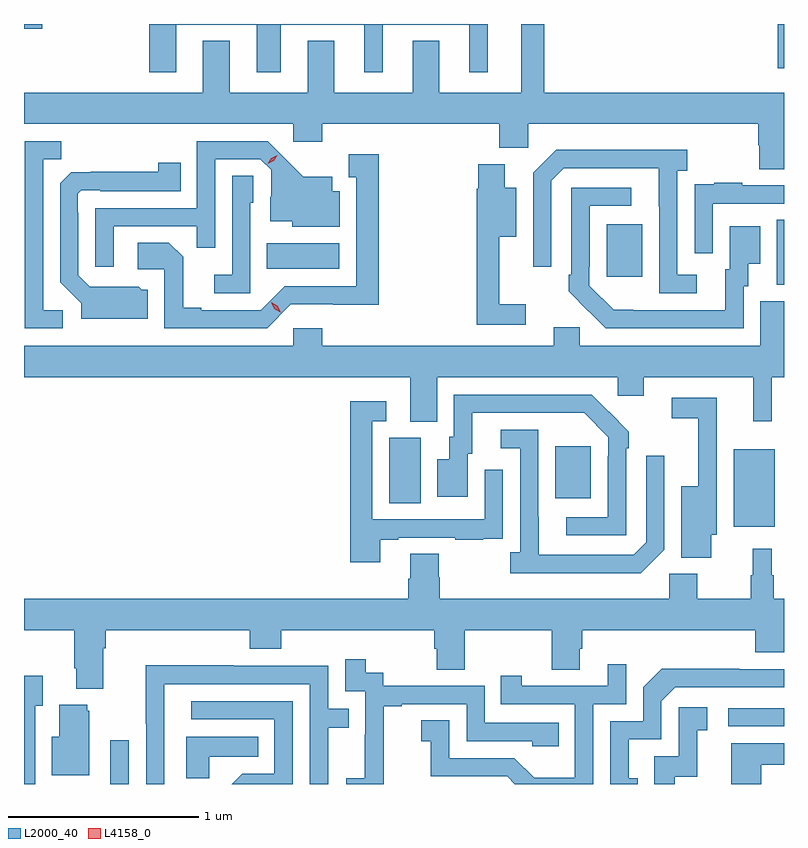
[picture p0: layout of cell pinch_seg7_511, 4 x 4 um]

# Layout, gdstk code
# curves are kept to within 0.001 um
import gdstk
lib = gdstk.Library(unit=1e-6, precision=1e-09)
def R(c, l, rs):  # rectangles x0, y0, x1, y1
    for r in rs: c.add(gdstk.rectangle(r[:2], r[2:], *l))
def P(c, l, *ps):  # polygons
    for p in ps: c.add(gdstk.Polygon(p, *l))
L2000_40 = (2000, 40)
L4158_0 = (4158, 0)

pinch_seg7_511 = lib.new_cell('pinch_seg7_511')
R(pinch_seg7_511, L2000_40, [(154.749,1062.41,154.845,1062.64), (158.001,1062.714,158.295,1062.81), (158.03,1063.763,158.245,1064.173), (156.218,1063.888,156.382,1064.232), (157.091,1063.913,157.279,1064.188), (158.258,1065.037,158.295,1065.38), (157.361,1065.081,157.549,1065.355), (155.572,1065.122,155.953,1065.256), (158.261,1066.176,158.295,1066.41), (154.295,1066.385,154.39,1066.41)])
P(pinch_seg7_511, L2000_40, [(155.095,1066.406),(155.519,1066.406),(155.519,1066.155),(155.647,1066.155),(155.647,1066.406),(156.086,1066.406),(156.086,1066.155),(156.184,1066.155),(156.184,1066.406),(156.638,1066.406),(156.638,1066.155),(156.736,1066.155),(156.736,1066.41),(154.955,1066.41),(154.955,1066.155),(155.095,1066.155)],
  [(158.295,1066.048),(157.033,1066.048),(157.033,1066.41),(156.911,1066.41),(156.911,1066.048),(156.481,1066.048),(156.481,1066.321),(156.341,1066.321),(156.341,1066.048),(155.929,1066.048),(155.929,1066.321),(155.789,1066.321),(155.789,1066.048),(155.377,1066.048),(155.377,1066.321),(155.237,1066.321),(155.237,1066.048),(154.295,1066.048),(154.295,1065.884),(155.712,1065.884),(155.712,1065.789),(155.864,1065.789),(155.864,1065.884),(156.797,1065.884),(156.797,1065.758),(156.948,1065.758),(156.948,1065.884),(158.159,1065.884),(158.159,1065.771),(158.164,1065.771),(158.164,1065.646),(158.295,1065.646)],
  [(154.767,1065.345),(155.203,1065.345),(155.203,1065.232),(155.301,1065.232),(155.301,1065.699),(155.538,1065.699),(155.595,1065.642),(155.595,1065.5),(155.591,1065.5),(155.591,1065.371),(155.706,1065.371),(155.706,1065.344),(155.956,1065.344),(155.956,1065.529),(155.917,1065.529),(155.917,1065.607),(155.765,1065.607),(155.578,1065.792),(155.205,1065.792),(155.205,1065.441),(154.671,1065.441),(154.671,1065.132),(154.767,1065.132)],
  [(154.498,1064.904),(154.395,1064.904),(154.395,1065.697),(154.491,1065.697),(154.491,1065.792),(154.299,1065.792),(154.299,1064.808),(154.498,1064.808)],
  [(157.837,1065.09),(157.734,1065.09),(157.734,1065.638),(157.786,1065.638),(157.786,1065.748),(157.096,1065.748),(156.975,1065.627),(156.975,1065.132),(157.071,1065.132),(157.071,1065.585),(157.137,1065.651),(157.637,1065.651),(157.638,1064.994),(157.837,1064.994)],
  [(155.7,1064.934),(156.163,1064.933),(156.163,1065.724),(156.005,1065.724),(156.005,1065.603),(156.044,1065.603),(156.044,1065.03),(155.667,1065.03),(155.541,1064.904),(155.227,1064.904),(155.227,1064.917),(155.133,1064.917),(155.133,1065.184),(155.057,1065.26),(154.893,1065.26),(154.893,1065.12),(155.034,1065.12),(155.034,1064.808),(155.574,1064.808)],
  [(154.945,1065.012),(154.914,1065.012),(154.898,1065.028),(154.641,1065.027),(154.581,1065.087),(154.581,1065.416),(154.578,1065.416),(154.578,1065.516),(154.596,1065.534),(154.696,1065.534),(154.696,1065.531),(155.12,1065.531),(155.12,1065.679),(155.002,1065.679),(155.002,1065.632),(154.544,1065.631),(154.485,1065.572),(154.485,1065.05),(154.595,1064.94),(154.595,1064.858),(154.945,1064.858)],
  [(156.937,1064.935),(156.797,1064.935),(156.797,1065.29),(156.886,1065.29),(156.886,1065.547),(156.826,1065.547),(156.826,1065.673),(156.686,1065.673),(156.686,1065.543),(156.679,1065.543),(156.679,1064.826),(156.937,1064.826)],
  [(155.487,1065.468),(155.502,1065.468),(155.502,1065.611),(155.391,1065.611),(155.391,1065.091),(155.295,1065.091),(155.295,1064.994),(155.487,1064.994)],
  [(157.92,1065.465),(158.295,1065.465),(158.295,1065.561),(158.075,1065.561),(158.075,1065.574),(157.927,1065.574),(157.927,1065.567),(157.825,1065.567),(157.825,1065.458),(157.824,1065.458),(157.824,1065.204),(157.92,1065.204)],
  [(158.082,1065.03),(158.107,1065.03),(158.107,1065.149),(158.17,1065.149),(158.17,1065.346),(158.009,1065.346),(158.009,1065.12),(157.985,1065.12),(157.985,1064.904),(157.398,1064.905),(157.269,1065.033),(157.269,1065.133),(157.272,1065.133),(157.272,1065.453),(157.492,1065.453),(157.492,1065.549),(157.176,1065.549),(157.176,1065.091),(157.161,1065.091),(157.161,1065.003),(157.358,1064.808),(158.082,1064.808)],
  [(156.469,1064.552),(157.419,1064.552),(157.419,1064.454),(157.558,1064.454),(157.558,1064.552),(158.132,1064.552),(158.132,1064.319),(158.231,1064.319),(158.231,1064.552),(158.295,1064.552),(158.295,1064.952),(158.171,1064.952),(158.171,1064.716),(157.221,1064.716),(157.221,1064.814),(157.082,1064.814),(157.082,1064.716),(155.864,1064.716),(155.864,1064.809),(155.712,1064.809),(155.712,1064.716),(154.295,1064.716),(154.295,1064.552),(156.329,1064.552),(156.329,1064.317),(156.469,1064.317)],
  [(157.464,1064.177),(157.479,1064.177),(157.479,1064.265),(157.282,1064.46),(156.558,1064.46),(156.558,1064.238),(156.533,1064.238),(156.533,1064.119),(156.47,1064.119),(156.47,1063.923),(156.631,1063.923),(156.631,1064.148),(156.655,1064.148),(156.655,1064.364),(157.243,1064.364),(157.371,1064.235),(157.371,1064.135),(157.368,1064.135),(157.368,1063.815),(157.149,1063.815),(157.149,1063.719),(157.464,1063.719)],
  [(157.912,1063.721),(157.941,1063.721),(157.941,1064.442),(157.704,1064.442),(157.704,1064.334),(157.844,1064.334),(157.844,1063.978),(157.754,1063.978),(157.754,1063.602),(157.912,1063.602)],
  [(156.169,1063.695),(156.265,1063.695),(156.265,1063.707),(156.565,1063.707),(156.565,1063.695),(156.713,1063.695),(156.713,1063.701),(156.815,1063.701),(156.815,1063.81),(156.816,1063.81),(156.816,1064.065),(156.72,1064.065),(156.72,1063.803),(156.129,1063.803),(156.129,1064.319),(156.202,1064.319),(156.202,1064.425),(156.013,1064.425),(156.013,1063.578),(156.169,1063.578)],
  [(157.665,1063.643),(157.665,1064.137),(157.569,1064.137),(157.569,1063.683),(157.503,1063.617),(157.003,1063.617),(157.002,1064.274),(156.804,1064.274),(156.804,1064.178),(156.906,1064.178),(156.906,1063.63),(156.855,1063.63),(156.855,1063.52),(157.542,1063.52)],
  [(154.711,1063.124),(154.724,1063.124),(154.724,1063.22),(155.483,1063.22),(155.483,1063.121),(155.648,1063.121),(155.648,1063.22),(156.455,1063.22),(156.455,1063.122),(156.467,1063.122),(156.467,1063.012),(156.615,1063.012),(156.615,1063.22),(157.072,1063.22),(157.072,1063.012),(157.219,1063.012),(157.219,1063.122),(157.232,1063.122),(157.232,1063.22),(158.144,1063.22),(158.144,1063.103),(158.295,1063.103),(158.295,1063.384),(158.242,1063.384),(158.242,1063.508),(158.23,1063.508),(158.23,1063.648),(158.131,1063.648),(158.131,1063.508),(158.121,1063.508),(158.121,1063.384),(157.839,1063.384),(157.839,1063.516),(157.692,1063.516),(157.692,1063.384),(156.482,1063.384),(156.482,1063.497),(156.477,1063.497),(156.477,1063.622),(156.329,1063.622),(156.329,1063.49),(156.317,1063.49),(156.317,1063.384),(154.295,1063.384),(154.295,1063.22),(154.559,1063.22),(154.559,1063.018),(154.571,1063.018),(154.571,1062.911),(154.711,1062.911)],
  [(156.189,1062.535),(156.188,1062.535),(156.188,1062.819),(156.283,1062.819),(156.283,1062.831),(156.624,1062.831),(156.624,1062.636),(156.969,1062.636),(156.969,1062.609),(157.109,1062.609),(157.109,1062.732),(156.72,1062.732),(156.72,1062.927),(156.186,1062.927),(156.186,1062.996),(156.094,1062.996),(156.094,1063.066),(155.985,1063.066),(155.985,1062.897),(156.09,1062.897),(156.09,1062.668),(156.089,1062.668),(156.089,1062.439),(155.991,1062.439),(155.991,1062.41),(156.189,1062.41)],
  [(157.29,1062.831),(157.464,1062.831),(157.464,1063.039),(157.367,1063.039),(157.367,1062.927),(156.916,1062.927),(156.916,1062.979),(156.805,1062.979),(156.805,1062.831),(157.194,1062.831),(157.194,1062.442),(156.98,1062.442),(156.876,1062.546),(156.534,1062.546),(156.534,1062.745),(156.387,1062.745),(156.387,1062.635),(156.436,1062.635),(156.436,1062.45),(156.839,1062.45),(156.879,1062.41),(157.29,1062.41)],
  [(155.034,1062.936),(155.799,1062.936),(155.799,1062.41),(155.895,1062.41),(155.895,1062.706),(156.005,1062.706),(156.005,1062.807),(155.895,1062.807),(155.895,1063.032),(155.399,1063.032),(155.399,1063.034),(154.936,1063.034),(154.936,1062.727),(154.938,1062.727),(154.938,1062.41),(155.034,1062.41)],
  [(157.526,1062.441),(157.477,1062.441),(157.477,1062.645),(157.65,1062.645),(157.65,1062.846),(157.722,1062.918),(158.295,1062.918),(158.295,1063.014),(158.06,1063.014),(158.06,1063.016),(157.652,1063.016),(157.554,1062.918),(157.554,1062.741),(157.38,1062.741),(157.38,1062.41),(157.526,1062.41)],
  [(154.353,1062.823),(154.393,1062.823),(154.393,1062.979),(154.295,1062.979),(154.295,1062.41),(154.353,1062.41)],
  [(155.709,1062.846),(155.175,1062.846),(155.175,1062.75),(155.613,1062.75),(155.613,1062.465),(155.444,1062.465),(155.389,1062.41),(155.709,1062.41)],
  [(154.639,1062.795),(154.628,1062.795),(154.628,1062.826),(154.481,1062.826),(154.481,1062.658),(154.442,1062.658),(154.442,1062.455),(154.639,1062.455)],
  [(157.72,1062.447),(157.838,1062.447),(157.838,1062.693),(157.891,1062.693),(157.891,1062.814),(157.74,1062.814),(157.74,1062.555),(157.611,1062.555),(157.611,1062.41),(157.72,1062.41)],
  [(155.271,1062.554),(155.528,1062.554),(155.528,1062.658),(155.15,1062.658),(155.15,1062.439),(155.271,1062.439)],
  [(158.176,1062.511),(158.295,1062.511),(158.295,1062.625),(158.018,1062.625),(158.018,1062.41),(158.176,1062.41)])
P(pinch_seg7_511, L4158_0, [(155.644,1064.893),(155.613,1064.912),(155.595,1064.945),(155.595,1064.945),(155.596,1064.945),(155.627,1064.926),(155.645,1064.894),(155.645,1064.893)],
  [(155.579,1065.675),(155.579,1065.675),(155.596,1065.704),(155.627,1065.719),(155.628,1065.719),(155.628,1065.719),(155.61,1065.689),(155.579,1065.675)])

lib.write_gds('pinch_seg7_511.gds')
